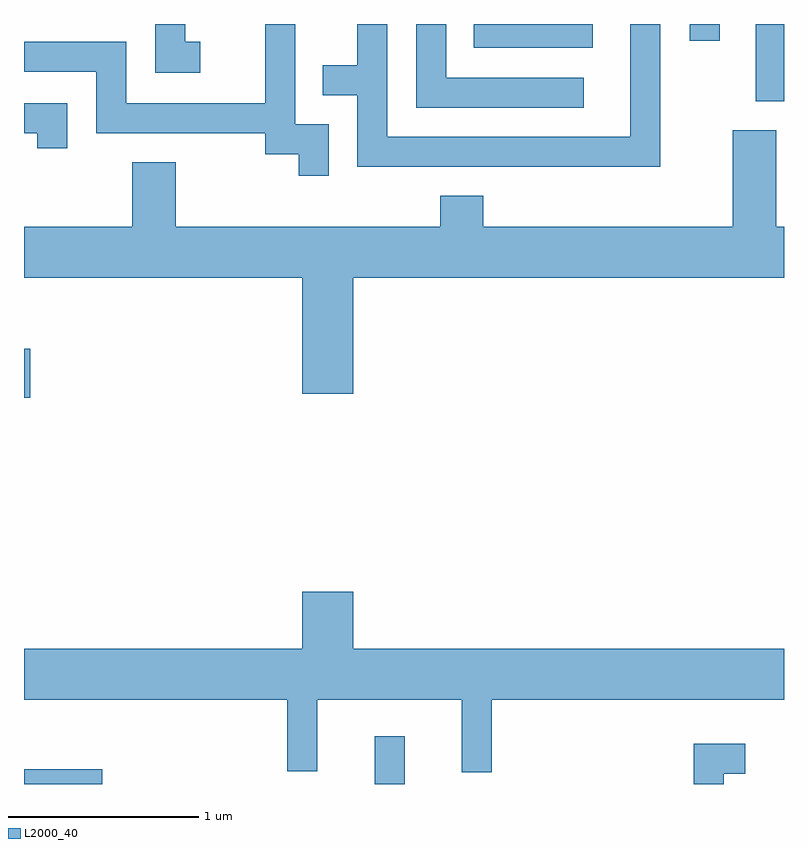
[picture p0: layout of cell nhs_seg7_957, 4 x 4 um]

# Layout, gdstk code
import gdstk
lib = gdstk.Library(unit=1e-6, precision=1e-09)
def R(c, l, rs):  # rectangles x0, y0, x1, y1
    for r in rs: c.add(gdstk.rectangle(r[:2], r[2:], *l))
def P(c, l, *ps):  # polygons
    for p in ps: c.add(gdstk.Polygon(p, *l))
L2000_40 = (2000, 40)

nhs_seg7_957 = lib.new_cell('nhs_seg7_957')
R(nhs_seg7_957, L2000_40, [(213.611,1778.252,214.024,1778.329), (215.456,1778.252,215.614,1778.503), (213.611,1780.286,213.644,1780.544), (217.461,1781.846,217.611,1782.252), (215.978,1782.126,216.604,1782.252), (217.116,1782.163,217.274,1782.252)])
P(nhs_seg7_957, L2000_40, [(216.959,1782.252),(216.801,1782.252),(216.801,1781.659),(215.524,1781.659),(215.524,1782.252),(215.366,1782.252),(215.366,1782.034),(215.183,1782.034),(215.183,1781.876),(215.366,1781.876),(215.366,1781.501),(216.959,1781.501)],
  [(215.214,1781.724),(215.039,1781.724),(215.039,1782.252),(214.881,1782.252),(214.881,1781.834),(214.149,1781.834),(214.149,1782.159),(213.611,1782.159),(213.611,1782.001),(213.991,1782.001),(213.991,1781.676),(214.881,1781.676),(214.881,1781.566),(215.056,1781.566),(215.056,1781.453),(215.214,1781.453)],
  [(216.558,1781.969),(215.834,1781.969),(215.834,1782.252),(215.676,1782.252),(215.676,1781.811),(216.558,1781.811)],
  [(214.538,1782.159),(214.459,1782.159),(214.459,1782.252),(214.301,1782.252),(214.301,1781.996),(214.538,1781.996)],
  [(213.839,1781.834),(213.611,1781.834),(213.611,1781.676),(213.681,1781.676),(213.681,1781.598),(213.839,1781.598)],
  [(215.344,1780.916),(217.611,1780.916),(217.611,1781.184),(217.569,1781.184),(217.569,1781.694),(217.341,1781.694),(217.341,1781.184),(216.029,1781.184),(216.029,1781.349),(215.801,1781.349),(215.801,1781.184),(214.409,1781.184),(214.409,1781.524),(214.181,1781.524),(214.181,1781.184),(213.611,1781.184),(213.611,1780.916),(215.076,1780.916),(215.076,1780.306),(215.344,1780.306)],
  [(216.074,1778.696),(217.611,1778.696),(217.611,1778.964),(215.344,1778.964),(215.344,1779.264),(215.076,1779.264),(215.076,1778.964),(213.611,1778.964),(213.611,1778.696),(214.996,1778.696),(214.996,1778.318),(215.154,1778.318),(215.154,1778.696),(215.916,1778.696),(215.916,1778.313),(216.074,1778.313)],
  [(217.294,1778.306),(217.408,1778.306),(217.408,1778.464),(217.136,1778.464),(217.136,1778.252),(217.294,1778.252)])

lib.write_gds('nhs_seg7_957.gds')
